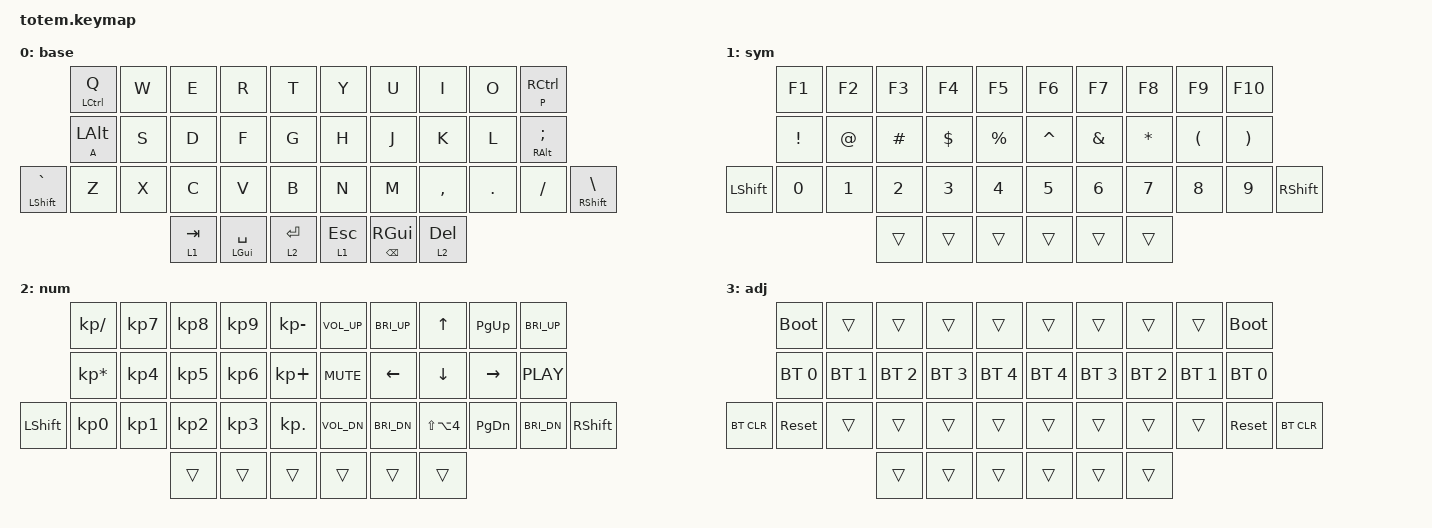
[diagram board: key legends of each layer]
//
//                                                        ▀▀▀▀▀     ▀▀▀▀▀          ▀▀█▀▀
//                                                        ▄▀▀▀▄  ▄  ▄▀▀▀▄  ▄  ▄▀▀▀▄  █  ▄▀▀▀▄
//                                                        █   █  █  █   █  █  █   █  █  █   █
//                                                         ▀▀▀   █   ▀▀▀   █   ▀▀▀   ▀   ▀▀▀
//                                                               █      ▄▄▄█▄▄▄    █   █  
//                                                               ▀      █  █  █     █▄█
//                                                             ▀▀▀▀▀    █  █  █      ▀
//                                                                      ▀  ▀  ▀
//
// ▄▄▄▄▄▄▄▄▄▄▄▄▄▄▄▄▄▄▄▄▄▄▄▄▄▄▄▄▄▄▄▄▄▄▄▄▄▄▄▄▄▄▄▄▄▄▄▄▄▄▄▄▄▄▄▄▄▄▄▄▄▄▄▄▄▄▄▄▄▄▄▄▄▄▄▄▄▄▄▄▄▄▄▄▄▄▄▄▄▄▄▄▄▄▄▄▄▄▄▄▄▄▄▄▄▄▄▄▄▄▄▄▄▄▄▄▄▄▄▄▄▄▄▄▄▄▄▄▄▄▄▄▄▄▄▄▄▄▄▄▄▄▄▄▄▄▄▄▄

#include <behaviors.dtsi>
#include <dt-bindings/zmk/bt.h>
#include <dt-bindings/zmk/keys.h>

#define BASE 0
#define NAV  1
#define SYM  2
#define ADJ  3
#define TVP1 4
#define TVP2 5

&mt {
    quick-tap-ms = <100>;
    global-quick-tap;
    flavor = "tap-preferred";
    tapping-term-ms = <170>;
};

/ {
    combos {
        compatible = "zmk,combos";

        lbkt {
            bindings = <&kp LBKT>;
            key-positions = <13 14>;
            layers = <0>;
            timeout-ms = <30>;
        };

        rbkt {
            bindings = <&kp RBKT>;
            key-positions = <15 16>;
            layers = <0>;
            timeout-ms = <30>;
        };

        lpar {
            bindings = <&kp LPAR>;
            key-positions = <3 4>;
            layers = <0>;
            timeout-ms = <30>;
        };

        rpar {
            bindings = <&kp RPAR>;
            key-positions = <6 5>;
            layers = <0>;
            timeout-ms = <30>;
        };

        lbrc {
            bindings = <&kp LBRC>;
            key-positions = <24 25>;
            layers = <0>;
            timeout-ms = <30>;
        };

        rbrc {
            bindings = <&kp RBRC>;
            key-positions = <26 27>;
            layers = <0>;
            timeout-ms = <30>;
        };

        return {
            bindings = <&kp ENTER>;
            key-positions = <16 17 18>;
            layers = <0>;
            timeout-ms = <30>;
        };

        escape {
            bindings = <&kp ESC>;
            key-positions = <11 12 13>;
            layers = <0>;
            timeout-ms = <30>;
        };

        dqt {
            bindings = <&kp DQT>;
            key-positions = <16 17>;
            layers = <0>;
            timeout-ms = <30>;
        };

        minus {
            bindings = <&kp MINUS>;
            key-positions = <3 2>;
            layers = <0>;
            timeout-ms = <30>;
        };

        underscore {
            bindings = <&kp UNDERSCORE>;
            key-positions = <6 7>;
            layers = <0>;
            timeout-ms = <30>;
        };

        plus {
            bindings = <&kp PLUS>;
            key-positions = <1 2>;
            layers = <0>;
            timeout-ms = <30>;
        };

        equal {
            bindings = <&kp EQUAL>;
            key-positions = <7 8>;
            layers = <0>;
            timeout-ms = <30>;
        };

        sqt {
            bindings = <&kp SQT>;
            key-positions = <12 13>;
            layers = <0>;
            timeout-ms = <30>;
        };
    };

    keymap {
        compatible = "zmk,keymap";

        // ▄▄▄▄▄▄▄▄▄▄▄▄▄▄▄▄▄▄▄▄▄▄▄▄▄▄▄▄▄▄▄▄▄▄▄▄▄▄▄▄▄▄▄▄▄▄▄▄▄▄▄▄▄▄▄▄▄▄▄▄▄▄▄▄▄▄▄▄▄▄▄▄▄▄▄▄▄▄▄▄▄▄▄▄▄▄▄▄▄▄▄▄▄▄▄▄▄▄▄▄▄▄▄▄▄▄▄▄▄▄▄▄▄▄▄▄▄▄▄▄▄▄▄▄▄▄▄▄▄▄▄▄▄▄▄▄▄▄▄▄▄▄▄▄▄▄▄▄▄
        // ▄▄▄▄▄▄▄▄▄▄▄▄▄▄▄▄▄▄▄▄▄▄▄▄▄▄▄▄▄▄▄▄▄▄▄▄▄▄▄▄▄▄▄▄▄▄▄▄▄▄▄▄▄▄▄▄▄▄▄▄▄▄▄▄▄▄▄▄▄▄▄▄▄▄▄▄▄▄▄▄▄▄▄▄▄▄▄▄▄▄▄▄▄▄▄▄▄▄▄▄▄▄▄▄▄▄▄▄▄▄▄▄▄▄▄▄▄▄▄▄▄▄▄▄▄▄▄▄▄▄▄▄▄▄▄▄▄▄▄▄▄▄▄▄▄▄▄▄▄
        // ▄▄▄▄▄▄▄▄▄▄▄▄▄▄▄▄▄▄▄▄▄▄▄▄▄▄▄▄▄▄▄▄▄▄▄▄▄▄▄▄▄▄▄▄▄▄▄▄▄▄▄▄▄▄▄▄▄▄▄▄▄▄▄▄▄▄▄▄▄▄▄▄▄▄▄▄▄▄▄▄▄▄▄▄▄▄▄▄▄▄▄▄▄▄▄▄▄▄▄▄▄▄▄▄▄▄▄▄▄▄▄▄▄▄▄▄▄▄▄▄▄▄▄▄▄▄▄▄▄▄▄▄▄▄▄▄▄▄▄▄▄▄▄▄▄▄▄▄▄
        // ▄▄▄▄▄▄▄▄▄▄▄▄▄▄▄▄▄▄▄▄▄▄▄▄▄▄▄▄▄▄▄▄▄▄▄▄▄▄▄▄▄▄▄▄▄▄▄▄▄▄▄▄▄▄▄▄▄▄▄▄▄▄▄▄▄▄▄▄▄▄▄▄▄▄▄▄▄▄▄▄▄▄▄▄▄▄▄▄▄▄▄▄▄▄▄▄▄▄▄▄▄▄▄▄▄▄▄▄▄▄▄▄▄▄▄▄▄▄▄▄▄▄▄▄▄▄▄▄▄▄▄▄▄▄▄▄▄▄▄▄▄▄▄▄▄▄▄▄▄
        // ▄▄▄▄▄▄▄▄▄▄▄▄▄▄▄▄▄▄▄▄▄▄▄▄▄▄▄▄▄▄▄▄▄▄▄▄▄▄▄▄▄▄▄▄▄▄▄▄▄▄▄▄▄▄▄▄▄▄▄▄▄▄▄▄▄▄▄▄▄▄▄▄▄▄▄▄▄▄▄▄▄▄▄▄▄▄▄▄▄▄▄▄▄▄▄▄▄▄▄▄▄▄▄▄▄▄▄▄▄▄▄▄▄▄▄▄▄▄▄▄▄▄▄▄▄▄▄▄▄▄▄▄▄▄▄▄▄▄▄▄▄▄▄▄▄▄▄▄▄
        // ▄▄▄▄▄▄▄▄▄▄▄▄▄▄▄▄▄▄▄▄▄▄▄▄▄▄▄▄▄▄▄▄▄▄▄▄▄▄▄▄▄▄▄▄▄▄▄▄▄▄▄▄▄▄▄▄▄▄▄▄▄▄▄▄▄▄▄▄▄▄▄▄▄▄▄▄▄▄▄▄▄▄▄▄▄▄▄▄▄▄▄▄▄▄▄▄▄▄▄▄▄▄▄▄▄▄▄▄▄▄▄▄▄▄▄▄▄▄▄▄▄▄▄▄▄▄▄▄▄▄▄▄▄▄▄▄▄▄▄▄▄▄▄▄▄▄▄▄▄

        base {
            bindings = <
                 &mt LCTRL Q  &kp W  &kp E      &kp R           &kp T           &kp Y         &kp U          &kp I         &kp O    &mt P RCTRL
                 &mt A LALT   &kp S  &kp D      &kp F           &kp G           &kp H         &kp J          &kp K         &kp L    &mt RALT SEMICOLON
&mt LSHFT GRAVE  &kp Z        &kp X  &kp C      &kp V           &kp B           &kp N         &kp M          &kp COMMA     &kp DOT  &kp FSLH            &mt RSHFT BSLH
                                     &lt 1 TAB  &mt LGUI SPACE  &lt 2 RETURN    &lt 1 ESCAPE  &mt BSPC RGUI  &lt 2 DELETE
            >;
        };

        sym {
            bindings = <
            &kp F1    &kp F2  &kp F3    &kp F4      &kp F5         &kp F6     &kp F7    &kp F8     &kp F9    &kp F10
            &kp EXCL  &kp AT  &kp HASH  &kp DOLLAR  &kp PERCENT    &kp CARET  &kp AMPS  &kp ASTRK  &kp LPAR  &kp RPAR
&kp LSHIFT  &kp N0    &kp N1  &kp N2    &kp N3      &kp N4         &kp N5     &kp N6    &kp N7     &kp N8    &kp N9    &kp RSHIFT
                              &trans    &trans      &trans         &trans     &trans    &trans
            >;
        };

        num {
            bindings = <
            &kp KP_SLASH     &kp KP_N7  &kp KP_N8  &kp KP_N9  &kp KP_MINUS    &kp C_VOL_UP  &kp C_BRI_UP  &kp UP                &kp PG_UP  &kp C_BRI_UP
            &kp KP_MULTIPLY  &kp KP_N4  &kp KP_N5  &kp KP_N6  &kp KP_PLUS     &kp C_MUTE    &kp LEFT      &kp DOWN              &kp RIGHT  &kp C_PLAY
&kp LSHIFT  &kp KP_N0        &kp KP_N1  &kp KP_N2  &kp KP_N3  &kp KP_DOT      &kp C_VOL_DN  &kp C_BRI_DN  &kp LS(LA(NUMBER_4))  &kp PG_DN  &kp C_BRI_DN  &kp RSHIFT
                                        &trans     &trans     &trans          &trans        &trans        &trans
            >;
        };

        adj {
            bindings = <
            &bootloader   &trans        &trans        &trans        &trans          &trans        &trans        &trans        &trans        &bootloader
            &bt BT_SEL 0  &bt BT_SEL 1  &bt BT_SEL 2  &bt BT_SEL 3  &bt BT_SEL 4    &bt BT_SEL 4  &bt BT_SEL 3  &bt BT_SEL 2  &bt BT_SEL 1  &bt BT_SEL 0
&bt BT_CLR  &sys_reset    &trans        &trans        &trans        &trans          &trans        &trans        &trans        &trans        &sys_reset    &bt BT_CLR
                                        &trans        &trans        &trans          &trans        &trans        &trans
            >;
        };
    };

    conditional_layers {
        compatible = "zmk,conditional-layers";

        tri-layer {
            if-layers = <1 2>;
            then-layer = <3>;
        };
    };
};
